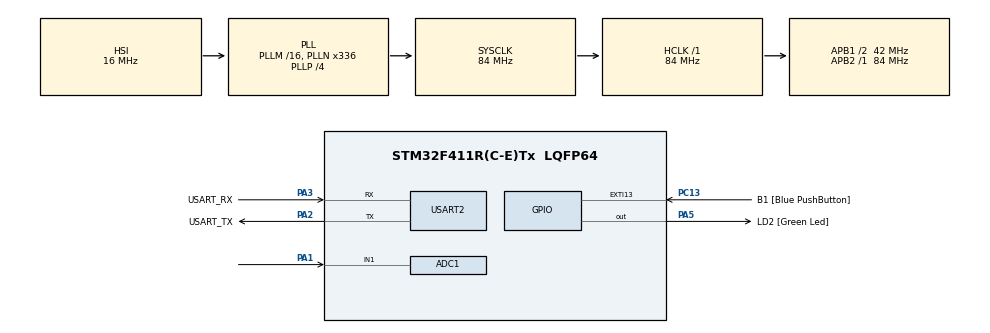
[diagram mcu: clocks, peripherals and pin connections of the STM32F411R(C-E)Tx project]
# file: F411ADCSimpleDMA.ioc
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ADC1.Channel-0\#ChannelRegularConversion=ADC_CHANNEL_1
ADC1.ExternalTrigConv=ADC_EXTERNALTRIGCONV_T2_TRGO
ADC1.NbrOfConversionFlag=1
ADC1.Rank-0\#ChannelRegularConversion=1
ADC1.SamplingTime-0\#ChannelRegularConversion=ADC_SAMPLETIME_3CYCLES
ADC1.master=1
Dma.ADC1.0.Direction=DMA_PERIPH_TO_MEMORY
Dma.ADC1.0.FIFOMode=DMA_FIFOMODE_DISABLE
Dma.ADC1.0.Instance=DMA2_Stream0
Dma.ADC1.0.MemDataAlignment=DMA_MDATAALIGN_HALFWORD
Dma.ADC1.0.MemInc=DMA_MINC_ENABLE
Dma.ADC1.0.Mode=DMA_NORMAL
Dma.ADC1.0.PeriphDataAlignment=DMA_PDATAALIGN_HALFWORD
Dma.ADC1.0.PeriphInc=DMA_PINC_DISABLE
Dma.ADC1.0.Priority=DMA_PRIORITY_MEDIUM
Dma.Request0=ADC1
Mcu.Family=STM32F4
Mcu.Name=STM32F411R(C-E)Tx
Mcu.Package=LQFP64
NVIC.DMA2_Stream0_IRQn=true\:0\:0\:false\:false\:true\:false\:true\:true
NVIC.PriorityGroup=NVIC_PRIORITYGROUP_0
PA1.Signal=ADCx_IN1
PA13.GPIO_Label=TMS
PA13.Signal=SYS_JTMS-SWDIO
PA14.GPIO_Label=TCK
PA14.Signal=SYS_JTCK-SWCLK
PA2.GPIO_Label=USART_TX
PA2.Mode=Asynchronous
PA2.Signal=USART2_TX
PA3.GPIO_Label=USART_RX
PA3.Mode=Asynchronous
PA3.Signal=USART2_RX
PA5.GPIO_Label=LD2 [Green Led]
PA5.Signal=GPIO_Output
PB3.GPIO_Label=SWO
PB3.Signal=SYS_JTDO-SWO
PC13-ANTI_TAMP.GPIO_Label=B1 [Blue PushButton]
PC13-ANTI_TAMP.GPIO_ModeDefaultEXTI=GPIO_MODE_IT_FALLING
PC13-ANTI_TAMP.Signal=GPXTI13
PC14-OSC32_IN.Signal=RCC_OSC32_IN
PC15-OSC32_OUT.Signal=RCC_OSC32_OUT
PH0\ -\ OSC_IN.Signal=RCC_OSC_IN
PH1\ -\ OSC_OUT.Signal=RCC_OSC_OUT
ProjectManager.HeapSize=0x200
ProjectManager.StackSize=0x400
ProjectManager.TargetToolchain=STM32CubeIDE
RCC.48MHZClocksFreq_Value=84000000
RCC.AHBFreq_Value=84000000
RCC.APB1CLKDivider=RCC_HCLK_DIV2
RCC.APB1Freq_Value=42000000
RCC.APB1TimFreq_Value=84000000
RCC.APB2Freq_Value=84000000
RCC.APB2TimFreq_Value=84000000
RCC.CortexFreq_Value=84000000
RCC.FLatency-AdvancedSettings=FLASH_LATENCY_2
RCC.HCLKFreq_Value=84000000
RCC.HSE_VALUE=8000000
RCC.HSI_VALUE=16000000
RCC.LSE_VALUE=32768
RCC.PLLN=336
RCC.PLLP=RCC_PLLP_DIV4
RCC.SYSCLKFreq_VALUE=84000000
RCC.SYSCLKSource=RCC_SYSCLKSOURCE_PLLCLK
RCC.VCOOutputFreq_Value=336000000
SH.ADCx_IN1.0=ADC1_IN1,IN1
USART2.Parity=PARITY_ODD
USART2.VirtualMode=VM_ASYNC
board=NUCLEO-F411RE

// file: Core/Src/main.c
/* USER CODE BEGIN Header */
/**
  ******************************************************************************
  * @file           : main.c
  * @brief          : Main program body
  ******************************************************************************
  * @attention
  *
  * Copyright (c) 2026 STMicroelectronics.
  * All rights reserved.
  *
  * This software is licensed under terms that can be found in the LICENSE file
  * in the root directory of this software component.
  * If no LICENSE file comes with this software, it is provided AS-IS.
  *
  ******************************************************************************
  */
/* USER CODE END Header */
#include "main.h"

ADC_HandleTypeDef hadc1;
DMA_HandleTypeDef hdma_adc1;

UART_HandleTypeDef huart2;

/* USER CODE BEGIN PV */
__IO uint16_t myADCValue = 0U;
/* USER CODE END PV */

void SystemClock_Config(void);
static void MX_GPIO_Init(void);
static void MX_DMA_Init(void);
static void MX_ADC1_Init(void);
static void MX_USART2_UART_Init(void);
/* USER CODE BEGIN PFP */
void GetChar(uint8_t *pByte);
void userInput();
#define MY_PUTCHAR int __io_putchar(int ch)
/* USER CODE END PFP */

int main(void)
{

  /* MCU Configuration--------------------------------------------------------*/

  /* Reset of all peripherals, Initializes the Flash interface and the Systick. */
  HAL_Init();

  /* Configure the system clock */
  SystemClock_Config();

  /* Initialize all configured peripherals */
  MX_GPIO_Init();
  MX_DMA_Init();
  MX_ADC1_Init();
  MX_USART2_UART_Init();
  /* USER CODE BEGIN 2 */

  myADCValue = 0;
  //printf("\n\r F411RE ADC Simple DMA, entering main function,starting ADC:\n\r");

  //HAL_ADCEx_Calibration_Start(&hadc1, ADC_SINGLE_ENDED) ;
 // HAL_ADC_Start_DMA(&hadc1,
//		  (uint32_t *)&myADCValue,
//		  1);

  //printf("\n\r ADC started, entering while loop, type something:\n\r");

  printf("\n\r F411RE ADC Simple DMA, type 'h' for help\n\r");
  /* USER CODE END 2 */

  /* Infinite loop */
  /* USER CODE BEGIN WHILE */
  while (1)
  {
	userInput();
    /* USER CODE END WHILE */

  }
}

void SystemClock_Config(void)
{
  RCC_OscInitTypeDef RCC_OscInitStruct = {0};
  RCC_ClkInitTypeDef RCC_ClkInitStruct = {0};

  /** Configure the main internal regulator output voltage
  */
  __HAL_RCC_PWR_CLK_ENABLE();
  __HAL_PWR_VOLTAGESCALING_CONFIG(PWR_REGULATOR_VOLTAGE_SCALE1);

  /** Initializes the RCC Oscillators according to the specified parameters
  * in the RCC_OscInitTypeDef structure.
  */
  RCC_OscInitStruct.OscillatorType = RCC_OSCILLATORTYPE_HSI;
  RCC_OscInitStruct.HSIState = RCC_HSI_ON;
  RCC_OscInitStruct.HSICalibrationValue = RCC_HSICALIBRATION_DEFAULT;
  RCC_OscInitStruct.PLL.PLLState = RCC_PLL_ON;
  RCC_OscInitStruct.PLL.PLLSource = RCC_PLLSOURCE_HSI;
  RCC_OscInitStruct.PLL.PLLM = 16;
  RCC_OscInitStruct.PLL.PLLN = 336;
  RCC_OscInitStruct.PLL.PLLP = RCC_PLLP_DIV4;
  RCC_OscInitStruct.PLL.PLLQ = 4;
  if (HAL_RCC_OscConfig(&RCC_OscInitStruct) != HAL_OK)
  {
    Error_Handler();
  }

  /** Initializes the CPU, AHB and APB buses clocks
  */
  RCC_ClkInitStruct.ClockType = RCC_CLOCKTYPE_HCLK|RCC_CLOCKTYPE_SYSCLK
                              |RCC_CLOCKTYPE_PCLK1|RCC_CLOCKTYPE_PCLK2;
  RCC_ClkInitStruct.SYSCLKSource = RCC_SYSCLKSOURCE_PLLCLK;
  RCC_ClkInitStruct.AHBCLKDivider = RCC_SYSCLK_DIV1;
  RCC_ClkInitStruct.APB1CLKDivider = RCC_HCLK_DIV2;
  RCC_ClkInitStruct.APB2CLKDivider = RCC_HCLK_DIV1;

  if (HAL_RCC_ClockConfig(&RCC_ClkInitStruct, FLASH_LATENCY_2) != HAL_OK)
  {
    Error_Handler();
  }
}

static void MX_ADC1_Init(void)
{

  ADC_ChannelConfTypeDef sConfig = {0};

  /** Configure the global features of the ADC (Clock, Resolution, Data Alignment and number of conversion)
  */
  hadc1.Instance = ADC1;
  hadc1.Init.ClockPrescaler = ADC_CLOCK_SYNC_PCLK_DIV4;
  hadc1.Init.Resolution = ADC_RESOLUTION_12B;
  hadc1.Init.ScanConvMode = DISABLE;
  hadc1.Init.ContinuousConvMode = DISABLE;
  hadc1.Init.DiscontinuousConvMode = DISABLE;
  hadc1.Init.ExternalTrigConvEdge = ADC_EXTERNALTRIGCONVEDGE_NONE;
  hadc1.Init.ExternalTrigConv = ADC_SOFTWARE_START;
  hadc1.Init.DataAlign = ADC_DATAALIGN_RIGHT;
  hadc1.Init.NbrOfConversion = 1;
  hadc1.Init.DMAContinuousRequests = DISABLE;
  hadc1.Init.EOCSelection = ADC_EOC_SINGLE_CONV;
  if (HAL_ADC_Init(&hadc1) != HAL_OK)
  {
    Error_Handler();
  }

  /** Configure for the selected ADC regular channel its corresponding rank in the sequencer and its sample time.
  */
  sConfig.Channel = ADC_CHANNEL_1;
  sConfig.Rank = 1;
  sConfig.SamplingTime = ADC_SAMPLETIME_28CYCLES;
  if (HAL_ADC_ConfigChannel(&hadc1, &sConfig) != HAL_OK)
  {
    Error_Handler();
  }

}

static void MX_USART2_UART_Init(void)
{

  huart2.Instance = USART2;
  huart2.Init.BaudRate = 115200;
  huart2.Init.WordLength = UART_WORDLENGTH_8B;
  huart2.Init.StopBits = UART_STOPBITS_1;
  huart2.Init.Parity = UART_PARITY_ODD;
  huart2.Init.Mode = UART_MODE_TX_RX;
  huart2.Init.HwFlowCtl = UART_HWCONTROL_NONE;
  huart2.Init.OverSampling = UART_OVERSAMPLING_16;
  if (HAL_UART_Init(&huart2) != HAL_OK)
  {
    Error_Handler();
  }

}

static void MX_DMA_Init(void)
{

  /* DMA controller clock enable */
  __HAL_RCC_DMA2_CLK_ENABLE();

  /* DMA interrupt init */
  /* DMA2_Stream0_IRQn interrupt configuration */
  HAL_NVIC_SetPriority(DMA2_Stream0_IRQn, 0, 0);
  HAL_NVIC_EnableIRQ(DMA2_Stream0_IRQn);

}

static void MX_GPIO_Init(void)
{
  GPIO_InitTypeDef GPIO_InitStruct = {0};

  /* GPIO Ports Clock Enable */
  __HAL_RCC_GPIOC_CLK_ENABLE();
  __HAL_RCC_GPIOH_CLK_ENABLE();
  __HAL_RCC_GPIOA_CLK_ENABLE();
  __HAL_RCC_GPIOB_CLK_ENABLE();

  /*Configure GPIO pin Output Level */
  HAL_GPIO_WritePin(LD2_GPIO_Port, LD2_Pin, GPIO_PIN_RESET);

  /*Configure GPIO pin : B1_Pin */
  GPIO_InitStruct.Pin = B1_Pin;
  GPIO_InitStruct.Mode = GPIO_MODE_IT_FALLING;
  GPIO_InitStruct.Pull = GPIO_NOPULL;
  HAL_GPIO_Init(B1_GPIO_Port, &GPIO_InitStruct);

  /*Configure GPIO pin : LD2_Pin */
  GPIO_InitStruct.Pin = LD2_Pin;
  GPIO_InitStruct.Mode = GPIO_MODE_OUTPUT_PP;
  GPIO_InitStruct.Pull = GPIO_NOPULL;
  GPIO_InitStruct.Speed = GPIO_SPEED_FREQ_LOW;
  HAL_GPIO_Init(LD2_GPIO_Port, &GPIO_InitStruct);

}

/* USER CODE BEGIN 4 */
MY_PUTCHAR
{
	  HAL_UART_Transmit(&huart2, (uint8_t *)&ch, 1, 0xFFFF);

	  return ch;
}

void GetChar(uint8_t *pByte)
{
	  HAL_UART_Receive(&huart2, pByte, 1, 100);
}

void userInput()
{
   uint8_t inputChar = 0;

   GetChar(&inputChar);

   // TODO: set inputchar to upper case use ToUpper()

   if(0 != inputChar)
   {
	 switch(inputChar)
	 {
	 	 case 'H':
	 	 case 'h':
	 	 	 {
	 	 		printf("\n\r help Menu type any of the following letters:\n\r");
	 	 		printf("\n\r 'A': start ADC conversion and print out result:\n\r");
	 	 	 }
	 		 break;
	 	 case 'A':
	 	 case 'a':
	 	     {
	 	    	printf("\n\r 'A': starting ADC on pin PA1:\n\r");
	 	    	 //HAL_ADCEx_Calibration_Start(&hadc1, ADC_SINGLE_ENDED) ;
	 	    	 HAL_ADC_Stop_DMA(&hadc1);
	 	    	 HAL_Delay(2);
	 	    	 HAL_ADC_Start_DMA(&hadc1,
	 	    		  (uint32_t *)&myADCValue,
	 	    		  1);
	 	    	printf("\n\r myADCValue is now %d\n\r", myADCValue);
	 	     }
	 		 break;
	 	 default:
	 		 break;
	 }

	 //inputChar = 0;
   }

}
/* USER CODE END 4 */

void Error_Handler(void)
{
  __disable_irq();
  while (1)
  {
  }
}
